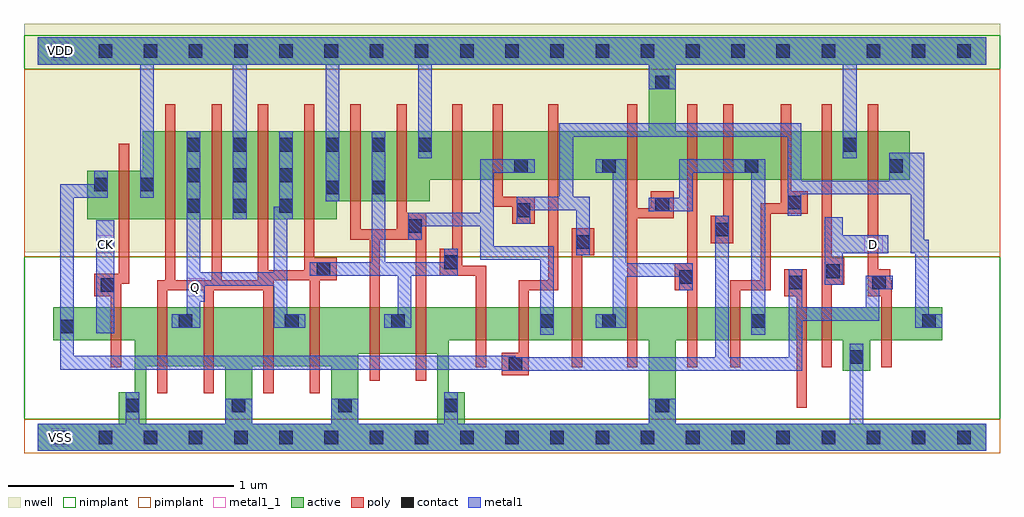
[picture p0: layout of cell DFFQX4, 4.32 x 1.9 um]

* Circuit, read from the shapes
.subckt DFFQX4 CK D Q VDD VSS
M1 VSS CK n1 VSS nfet w=0.145u l=0.045u
M2 Q n2 VSS VSS nfet w=0.26u l=0.045u m=4
M3 n2 n3 VSS VSS nfet w=0.205u l=0.045u m=2
M4 n4 n2 VSS VSS nfet w=0.145u l=0.045u
M5 n3 n1 n4 VSS nfet w=0.145u l=0.045u
M6 n5 n6 n3 VSS nfet w=0.145u l=0.045u
M7 VSS n7 n5 VSS nfet w=0.145u l=0.045u
M8 n8 n5 VSS VSS nfet w=0.145u l=0.045u
M9 n7 n6 n8 VSS nfet w=0.145u l=0.045u
M10 n9 n1 n7 VSS nfet w=0.145u l=0.045u
M11 VSS D n9 VSS nfet w=0.145u l=0.045u
M12 n6 n1 VSS VSS nfet w=0.145u l=0.045u
M13 VDD CK n1 VDD pfet w=0.215u l=0.045u
M14 Q n2 VDD VDD pfet w=0.39u l=0.045u m=4
M15 n2 n3 VDD VDD pfet w=0.31u l=0.045u m=2
M16 n10 n2 VDD VDD pfet w=0.215u l=0.045u
M17 n3 n6 n10 VDD pfet w=0.215u l=0.045u
M18 n5 n1 n3 VDD pfet w=0.215u l=0.045u
M19 VDD n7 n5 VDD pfet w=0.215u l=0.045u
M20 n11 n5 VDD VDD pfet w=0.215u l=0.045u
M21 n7 n1 n11 VDD pfet w=0.215u l=0.045u
M22 n12 n6 n7 VDD pfet w=0.215u l=0.045u
M23 VDD D n12 VDD pfet w=0.215u l=0.045u
M24 n6 n1 VDD VDD pfet w=0.215u l=0.045u
.ends

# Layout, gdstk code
import gdstk
lib = gdstk.Library(unit=1e-6, precision=5e-10)
def R(c, l, rs):  # rectangles x0, y0, x1, y1
    for r in rs: c.add(gdstk.rectangle(r[:2], r[2:], *l))
def A(c, l, x, y, w, h, nx, ny, dx, dy):  # array of equal rectangles
    R(c, l, [(x+i*dx, y+j*dy, x+i*dx+w, y+j*dy+h) for i in range(nx) for j in range(ny)])
def P(c, l, *ps):  # polygons
    for p in ps: c.add(gdstk.Polygon(p, *l))
active = (1, 0)
nwell = (2, 0)
poly = (3, 0)
nimplant = (4, 0)
pimplant = (5, 0)
contact = (6, 0)
metal1 = (7, 0)
metal1_1 = (7, 1)

dffqx4 = lib.new_cell('DFFQX4')
P(dffqx4, active, [(0,1.77),(4.2,1.77),(4.2,1.65),(2.825,1.65),(2.825,1.355),(3.86,1.355),(3.86,1.14),(1.735,1.14),(1.735,1.045),(1.325,1.045),(1.325,0.965),(0.22,0.965),(0.22,1.18),(0.465,1.18),(0.465,1.355),(2.705,1.355),(2.705,1.65),(0,1.65)],
  [(0.07,0.575),(4.005,0.575),(4.005,0.43),(3.685,0.43),(3.685,0.295),(3.565,0.295),(3.565,0.43),(2.825,0.43),(2.825,0.06),(4.2,0.06),(4.2,-0.06),(0,-0.06),(0,0.06),(0.36,0.06),(0.36,0.2),(0.43,0.2),(0.43,0.315),(0.48,0.315),(0.48,0.06),(0.83,0.06),(0.83,0.315),(0.95,0.315),(0.95,0.06),(1.3,0.06),(1.3,0.315),(0.43,0.315),(0.43,0.37),(1.42,0.37),(1.42,0.06),(1.77,0.06),(1.77,0.37),(0.43,0.37),(0.43,0.43),(1.82,0.43),(1.82,0.2),(1.89,0.2),(1.89,0.06),(2.705,0.06),(2.705,0.43),(0.07,0.43)])
R(dffqx4, nwell, [(-0.06,0.82,4.26,1.83)])
P(dffqx4, poly, [(0.565,1.475),(0.61,1.475),(0.61,0.695),(0.77,0.695),(0.77,1.475),(0.815,1.475),(0.815,0.695),(0.975,0.695),(0.975,1.475),(1.02,1.475),(1.02,0.74),(1.18,0.74),(1.18,1.475),(1.225,1.475),(1.225,0.795),(1.325,0.795),(1.325,0.695),(1.25,0.695),(1.25,0.195),(1.205,0.195),(1.205,0.695),(1.045,0.695),(1.045,0.195),(1,0.195),(1,0.65),(0.78,0.65),(0.78,0.195),(0.735,0.195),(0.735,0.65),(0.575,0.65),(0.575,0.195),(0.53,0.195),(0.53,0.695),(0.565,0.695)],
  [(1.385,1.475),(1.43,1.475),(1.43,0.92),(1.59,0.92),(1.59,1.475),(1.635,1.475),(1.635,0.995),(1.72,0.995),(1.72,0.25),(1.675,0.25),(1.675,0.875),(1.515,0.875),(1.515,0.25),(1.47,0.25),(1.47,0.875),(1.385,0.875)],
  [(1.835,1.475),(1.88,1.475),(1.88,0.76),(1.985,0.76),(1.985,0.31),(1.94,0.31),(1.94,0.715),(1.78,0.715),(1.78,0.835),(1.835,0.835)],
  [(2.015,1.475),(2.06,1.475),(2.06,1.065),(2.2,1.065),(2.2,0.945),(2.1,0.945),(2.1,1.02),(2.015,1.02)],
  [(2.26,1.475),(2.305,1.475),(2.305,0.65),(2.175,0.65),(2.175,0.275),(2.055,0.275),(2.055,0.375),(2.13,0.375),(2.13,0.695),(2.26,0.695)],
  [(2.61,1.475),(2.655,1.475),(2.655,1.015),(2.715,1.015),(2.715,1.09),(2.815,1.09),(2.815,0.97),(2.655,0.97),(2.655,0.31),(2.61,0.31)],
  [(2.875,1.475),(2.92,1.475),(2.92,0.31),(2.875,0.31),(2.875,0.65),(2.82,0.65),(2.82,0.77),(2.875,0.77)],
  [(3.035,1.475),(3.08,1.475),(3.08,0.86),(2.98,0.86),(2.98,0.98),(3.035,0.98)],
  [(3.29,1.475),(3.335,1.475),(3.335,1.09),(3.41,1.09),(3.41,0.99),(3.245,0.99),(3.245,0.65),(3.11,0.65),(3.11,0.31),(3.065,0.31),(3.065,0.695),(3.2,0.695),(3.2,1.035),(3.29,1.035)],
  [(3.47,1.475),(3.515,1.475),(3.515,0.795),(3.57,0.795),(3.57,0.675),(3.515,0.675),(3.515,0.31),(3.47,0.31)],
  [(3.675,1.475),(3.72,1.475),(3.72,0.745),(3.775,0.745),(3.775,0.695),(3.78,0.695),(3.78,0.31),(3.735,0.31),(3.735,0.625),(3.675,0.625)],
  [(0.36,1.3),(0.405,1.3),(0.405,0.68),(0.37,0.68),(0.37,0.31),(0.325,0.31),(0.325,0.625),(0.25,0.625),(0.25,0.725),(0.36,0.725)],
  [(2.365,0.925),(2.465,0.925),(2.465,0.805),(2.41,0.805),(2.41,0.31),(2.365,0.31)],
  [(3.305,0.745),(3.405,0.745),(3.405,0.13),(3.36,0.13),(3.36,0.625),(3.305,0.625)])
R(dffqx4, nimplant, [(-0.06,0.08,4.26,0.8), (-0.06,1.63,4.26,1.78)])
R(dffqx4, pimplant, [(-0.06,-0.07,4.26,0.08), (-0.06,0.8,4.26,1.63)])
A(dffqx4, contact, 0.07, -0.03, 0.06, 0.06, 21, 2, 0.2, 1.71)
A(dffqx4, contact, 0.39, 0.11, 0.06, 0.06, 4, 1, 0.47, 0)
A(dffqx4, contact, 0.625, 0.485, 0.06, 0.06, 3, 1, 0.47, 0)
A(dffqx4, contact, 0.66, 0.995, 0.06, 0.06, 3, 2, 0.205, 0.135)
A(dffqx4, contact, 0.66, 1.265, 0.06, 0.06, 6, 1, 0.205, 0)
R(dffqx4, contact, [(2.735,0.11,2.795,0.17), (2.085,0.295,2.145,0.355), (3.595,0.325,3.655,0.385), (0.1,0.46,0.16,0.52), (2.225,0.485,2.285,0.545), (2.5,0.485,2.56,0.545), (3.16,0.485,3.22,0.545), (3.915,0.485,3.975,0.545), (0.28,0.645,0.34,0.705), (3.325,0.655,3.385,0.715), (3.695,0.655,3.755,0.715), (2.84,0.68,2.9,0.74), (3.49,0.705,3.55,0.765), (1.235,0.715,1.295,0.775), (1.8,0.745,1.86,0.805), (2.385,0.835,2.445,0.895), (3,0.89,3.06,0.95), (1.64,0.905,1.7,0.965), (2.12,0.975,2.18,1.035), (2.735,1,2.795,1.06), (3.32,1.01,3.38,1.07), (1.275,1.075,1.335,1.135), (1.48,1.075,1.54,1.135), (0.25,1.09,0.31,1.15), (0.455,1.09,0.515,1.15), (2.11,1.17,2.17,1.23), (2.5,1.17,2.56,1.23), (3.13,1.17,3.19,1.23), (3.77,1.17,3.83,1.23), (3.565,1.265,3.625,1.325), (2.735,1.54,2.795,1.6)])
R(dffqx4, metal1, [(0.26,0.46,0.34,0.96)])
P(dffqx4, metal1, [(0,1.77),(4.2,1.77),(4.2,1.65),(3.625,1.65),(3.625,1.235),(3.565,1.235),(3.565,1.65),(2.825,1.65),(2.825,1.54),(2.705,1.54),(2.705,1.65),(1.745,1.65),(1.745,1.235),(1.685,1.235),(1.685,1.65),(1.335,1.65),(1.335,1.045),(1.275,1.045),(1.275,1.65),(0.925,1.65),(0.925,0.965),(0.865,0.965),(0.865,1.65),(0.515,1.65),(0.515,1.06),(0.455,1.06),(0.455,1.65),(0,1.65)],
  [(0.25,1.18),(0.31,1.18),(0.31,1.06),(0.16,1.06),(0.16,0.36),(2.115,0.36),(2.115,0.355),(3,0.355),(3,0.98),(3.06,0.98),(3.06,0.355),(3.325,0.355),(3.325,0.745),(3.385,0.745),(3.385,0.575),(3.665,0.575),(3.665,0.715),(3.785,0.715),(3.785,0.655),(3.725,0.655),(3.725,0.515),(3.385,0.515),(3.385,0.295),(2.055,0.295),(2.055,0.3),(0.1,0.3),(0.1,1.12),(0.25,1.12)],
  [(0.66,1.355),(0.72,1.355),(0.72,0.73),(1.045,0.73),(1.045,1.02),(1.07,1.02),(1.07,1.355),(1.13,1.355),(1.13,0.965),(1.105,0.965),(1.105,0.545),(1.185,0.545),(1.185,0.485),(1.045,0.485),(1.045,0.67),(0.74,0.67),(0.74,0.6),(0.72,0.6),(0.72,0.485),(0.595,0.485),(0.595,0.545),(0.66,0.545)],
  [(1.48,1.355),(1.54,1.355),(1.54,0.775),(1.8,0.775),(1.8,0.835),(1.86,0.835),(1.86,0.715),(1.655,0.715),(1.655,0.485),(1.535,0.485),(1.535,0.545),(1.595,0.545),(1.595,0.715),(1.205,0.715),(1.205,0.775),(1.48,0.775)],
  [(2.31,1.39),(3.38,1.39),(3.38,1.135),(3.77,1.135),(3.77,1.26),(3.925,1.26),(3.925,0.875),(3.945,0.875),(3.945,0.545),(4.005,0.545),(4.005,0.485),(3.885,0.485),(3.885,0.815),(3.865,0.815),(3.865,1.075),(3.38,1.075),(3.38,0.98),(3.32,0.98),(3.32,1.33),(2.37,1.33),(2.37,1.065),(2.445,1.065),(2.445,0.805),(2.385,0.805),(2.385,1.005),(2.18,1.005),(2.18,0.945),(2.12,0.945),(2.12,1.065),(2.31,1.065)],
  [(1.96,1.23),(2.2,1.23),(2.2,1.17),(2.02,1.17),(2.02,0.845),(2.285,0.845),(2.285,0.455),(2.225,0.455),(2.225,0.785),(1.96,0.785),(1.96,0.935),(1.7,0.935),(1.7,0.875),(1.64,0.875),(1.64,0.995),(1.96,0.995)],
  [(2.47,1.23),(2.605,1.23),(2.605,0.77),(2.9,0.77),(2.9,0.65),(2.84,0.65),(2.84,0.71),(2.605,0.71),(2.605,0.485),(2.47,0.485),(2.47,0.545),(2.545,0.545),(2.545,1.17),(2.47,1.17)],
  [(2.84,1.23),(3.22,1.23),(3.22,0.455),(3.16,0.455),(3.16,1.17),(2.9,1.17),(2.9,1),(2.705,1),(2.705,1.06),(2.84,1.06)],
  [(3.485,0.975),(3.565,0.975),(3.565,0.895),(3.765,0.895),(3.765,0.815),(3.565,0.815),(3.565,0.675),(3.485,0.675)],
  [(0.39,0.2),(0.45,0.2),(0.45,0.06),(0.83,0.06),(0.83,0.17),(0.95,0.17),(0.95,0.06),(1.3,0.06),(1.3,0.17),(1.42,0.17),(1.42,0.06),(1.8,0.06),(1.8,0.2),(1.86,0.2),(1.86,0.06),(2.705,0.06),(2.705,0.17),(2.825,0.17),(2.825,0.06),(3.595,0.06),(3.595,0.415),(3.655,0.415),(3.655,0.06),(4.2,0.06),(4.2,-0.06),(0,-0.06),(0,0.06),(0.39,0.06)])
R(dffqx4, metal1_1, [(0.06,-0.04,0.14,0.04), (0.66,0.625,0.74,0.705), (0.26,0.815,0.34,0.895), (3.66,0.815,3.74,0.895), (0.06,1.67,0.14,1.75)])
dffqx4.add(gdstk.Label('D', (3.7,0.855), layer=7, texttype=1))
dffqx4.add(gdstk.Label('CK', (0.3,0.855), layer=7, texttype=1))
dffqx4.add(gdstk.Label('Q', (0.7,0.665), layer=7, texttype=1))
dffqx4.add(gdstk.Label('VDD', (0.1,1.71), layer=7, texttype=1))
dffqx4.add(gdstk.Label('VSS', (0.1,0), layer=7, texttype=1))
dffqx4.add(gdstk.Label('DFFQX4', (0,0), layer=63, texttype=0))

lib.write_gds('DFFQX4.gds')
